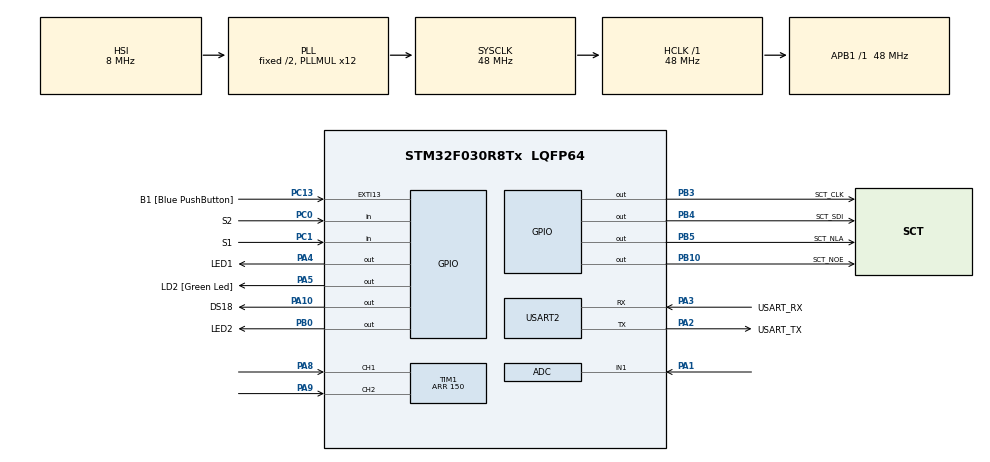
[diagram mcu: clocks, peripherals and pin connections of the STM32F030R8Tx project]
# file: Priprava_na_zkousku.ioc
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ADC.ContinuousConvMode=ENABLE
ADC.Overrun=ADC_OVR_DATA_OVERWRITTEN
ADC.Resolution=ADC_RESOLUTION_10B
ADC.SamplingTime=ADC_SAMPLETIME_239CYCLES_5
Mcu.Family=STM32F0
Mcu.Name=STM32F030R8Tx
Mcu.Package=LQFP64
NVIC.ADC1_IRQn=true\:0\:0\:false\:false\:true\:true\:true
PA0.GPIO_Label=ADC_IN0
PA0.Signal=ADC_IN0
PA1.Mode=IN1
PA1.Signal=ADC_IN1
PA10.GPIO_Label=DS18
PA10.GPIO_ModeDefaultOutputPP=GPIO_MODE_OUTPUT_OD
PA10.PinState=GPIO_PIN_SET
PA10.Signal=GPIO_Output
PA13.GPIO_Label=TMS
PA13.Mode=Serial_Wire
PA13.Signal=SYS_SWDIO
PA14.GPIO_Label=TCK
PA14.Mode=Serial_Wire
PA14.Signal=SYS_SWCLK
PA2.GPIO_Label=USART_TX
PA2.GPIO_Mode=GPIO_MODE_AF_PP
PA2.GPIO_PuPd=GPIO_NOPULL
PA2.GPIO_Speed=GPIO_SPEED_FREQ_LOW
PA2.Mode=Asynchronous
PA2.Signal=USART2_TX
PA3.GPIO_Label=USART_RX
PA3.GPIO_Mode=GPIO_MODE_AF_PP
PA3.GPIO_PuPd=GPIO_NOPULL
PA3.GPIO_Speed=GPIO_SPEED_FREQ_LOW
PA3.Mode=Asynchronous
PA3.Signal=USART2_RX
PA4.GPIO_Label=LED1
PA4.Signal=GPIO_Output
PA5.GPIO_Label=LD2 [Green Led]
PA5.GPIO_Mode=GPIO_MODE_OUTPUT_PP
PA5.GPIO_PuPd=GPIO_NOPULL
PA5.GPIO_Speed=GPIO_SPEED_FREQ_LOW
PA5.Signal=GPIO_Output
PA8.Signal=S_TIM1_CH1
PA9.Signal=S_TIM1_CH2
PB0.GPIO_Label=LED2
PB0.Signal=GPIO_Output
PB10.GPIO_Label=SCT_NOE
PB10.Signal=GPIO_Output
PB3.GPIO_Label=SCT_CLK
PB3.Signal=GPIO_Output
PB4.GPIO_Label=SCT_SDI
PB4.Signal=GPIO_Output
PB5.GPIO_Label=SCT_NLA
PB5.Signal=GPIO_Output
PC0.GPIO_Label=S2
PC0.GPIO_PuPd=GPIO_PULLUP
PC0.Signal=GPIO_Input
PC1.GPIO_Label=S1
PC1.GPIO_PuPd=GPIO_PULLUP
PC1.Signal=GPIO_Input
PC13.GPIO_Label=B1 [Blue PushButton]
PC13.GPIO_ModeDefaultEXTI=GPIO_MODE_IT_FALLING
PC13.Signal=GPXTI13
PC14-OSC32_IN.Mode=LSE-External-Oscillator
PC14-OSC32_IN.Signal=RCC_OSC32_IN
PC15-OSC32_OUT.Mode=LSE-External-Oscillator
PC15-OSC32_OUT.Signal=RCC_OSC32_OUT
PF0-OSC_IN.Mode=HSE-External-Clock-Source
PF0-OSC_IN.Signal=RCC_OSC_IN
PF1-OSC_OUT.Signal=RCC_OSC_OUT
ProjectManager.HeapSize=0x200
ProjectManager.StackSize=0x400
ProjectManager.TargetToolchain=STM32CubeIDE
RCC.AHBFreq_Value=48000000
RCC.APB1Freq_Value=48000000
RCC.APB1TimFreq_Value=48000000
RCC.HCLKFreq_Value=48000000
RCC.PLLMUL=RCC_PLL_MUL12
RCC.SYSCLKFreq_VALUE=48000000
RCC.SYSCLKSource=RCC_SYSCLKSOURCE_PLLCLK
SH.S_TIM1_CH1.0=TIM1_CH1,Encoder_Interface
SH.S_TIM1_CH2.0=TIM1_CH2,Encoder_Interface
TIM1.IC1Polarity=TIM_ICPOLARITY_FALLING
TIM1.Period=150
USART2.VirtualMode-Asynchronous=VM_ASYNC
board=NUCLEO-F030R8

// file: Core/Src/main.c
/* USER CODE BEGIN Header */
/**
  ******************************************************************************
  * @file           : main.c
  * @brief          : Main program body
  ******************************************************************************
  * @attention
  *
  * <h2><center>&copy; Copyright (c) 2022 STMicroelectronics.
  * All rights reserved.</center></h2>
  *
  * This software component is licensed by ST under BSD 3-Clause license,
  * the "License"; You may not use this file except in compliance with the
  * License. You may obtain a copy of the License at:
  *                        opensource.org/licenses/BSD-3-Clause
  *
  ******************************************************************************
  */
/* USER CODE END Header */
#include "main.h"

/* USER CODE BEGIN Includes */

#include "sct.h"
#include "1wire.h"

/* USER CODE END Includes */

ADC_HandleTypeDef hadc;

TIM_HandleTypeDef htim1;

UART_HandleTypeDef huart2;

void SystemClock_Config(void);
static void MX_GPIO_Init(void);
static void MX_USART2_UART_Init(void);
static void MX_TIM1_Init(void);
static void MX_ADC_Init(void);

/* USER CODE BEGIN 0 */

uint8_t Tlacitka(void)
{
static uint32_t debounce = 0;
static uint8_t btnout = 0;

// uint32_t now = HAL_GetTick() ;

#define BUTTON_DEBOUNCE 100
// #define BUTTON_LONG 1000

	if (HAL_GetTick() > debounce + BUTTON_DEBOUNCE) {

			if (HAL_GPIO_ReadPin(S1_GPIO_Port, S1_Pin) == 0) {
				btnout |= 0x1;
			} else
				btnout &= ~0x1;

			if (HAL_GPIO_ReadPin(S2_GPIO_Port, S2_Pin) == 0) {
				btnout |= 0x2;
			} else
				btnout &= ~0x2;

/*
		if(tlacidlo == 1 && HAL_GetTick() > now + BUTTON_LONG)
			{
				btnout |= 0x3;
			}
		else
			btnout &= ~0x3;
*/
		debounce = HAL_GetTick();
	}
return btnout;
}

void Led(uint16_t LedOut,uint16_t ON_OFF )
{
		if (LedOut == 1 && ON_OFF == 1) {
		HAL_GPIO_WritePin(LED1_GPIO_Port, LED1_Pin, GPIO_PIN_SET);
	} else if (LedOut == 1 && ON_OFF == 0)
		HAL_GPIO_WritePin(LED1_GPIO_Port, LED1_Pin, GPIO_PIN_RESET);

	if (LedOut == 2 && ON_OFF == 1) {
		HAL_GPIO_WritePin(LED2_GPIO_Port, LED2_Pin, GPIO_PIN_SET);
	} else if(LedOut == 2 && ON_OFF == 0)
		HAL_GPIO_WritePin(LED2_GPIO_Port, LED2_Pin, GPIO_PIN_RESET);

	LedOut = 0;
}
/*
static volatile uint32_t raw_pot;
static uint32_t avg_pot;
#define ADC_Q 14

void HAL_ADC_ConvCpltCallback(ADC_HandleTypeDef* hadc)
{
raw_pot = avg_pot >> ADC_Q;
avg_pot -= raw_pot;
avg_pot += HAL_ADC_GetValue(hadc);
}

*/

static const int16_t ntc_lookup[] = { 1689, 1669, 1649, 1630, 1611, 1593, 1575,
		1558, 1540, 1524, 1507, 1491, 1475, 1460, 1445, 1430, 1415, 1401, 1387,
		1373, 1360, 1347, 1334, 1322, 1309, 1297, 1285, 1274, 1263, 1251, 1241,
		1230, 1220, 1209, 1199, 1190, 1180, 1171, 1161, 1152, 1144, 1135, 1126,
		1118, 1110, 1102, 1094, 1086, 1079, 1071, 1064, 1057, 1050, 1043, 1036,
		1030, 1023, 1017, 1011, 1005, 999, 993, 987, 981, 976, 970, 965, 960,
		954, 949, 944, 939, 934, 930, 925, 920, 916, 911, 907, 902, 898, 894,
		890, 886, 882, 878, 874, 870, 866, 862, 859, 855, 851, 848, 844, 841,
		837, 834, 831, 827, 824, 821, 818, 814, 811, 808, 805, 802, 799, 796,
		793, 790, 788, 785, 782, 779, 776, 774, 771, 768, 766, 763, 760, 758,
		755, 753, 750, 748, 745, 743, 740, 738, 735, 733, 731, 728, 726, 723,
		721, 719, 717, 714, 712, 710, 707, 705, 703, 701, 699, 696, 694, 692,
		690, 688, 686, 684, 682, 679, 677, 675, 673, 671, 669, 667, 665, 663,
		661, 659, 657, 655, 653, 651, 649, 647, 645, 643, 641, 640, 638, 636,
		634, 632, 630, 628, 626, 625, 623, 621, 619, 617, 615, 614, 612, 610,
		608, 607, 605, 603, 601, 599, 598, 596, 594, 593, 591, 589, 587, 586,
		584, 582, 581, 579, 577, 576, 574, 573, 571, 569, 568, 566, 565, 563,
		561, 560, 558, 557, 555, 554, 552, 550, 549, 547, 546, 544, 543, 541,
		540, 538, 537, 536, 534, 533, 531, 530, 528, 527, 525, 524, 523, 521,
		520, 518, 517, 516, 514, 513, 511, 510, 509, 507, 506, 505, 503, 502,
		501, 499, 498, 497, 496, 494, 493, 492, 490, 489, 488, 487, 485, 484,
		483, 482, 480, 479, 478, 477, 475, 474, 473, 472, 471, 469, 468, 467,
		466, 465, 464, 462, 461, 460, 459, 458, 457, 455, 454, 453, 452, 451,
		450, 449, 448, 446, 445, 444, 443, 442, 441, 440, 439, 438, 437, 435,
		434, 433, 432, 431, 430, 429, 428, 427, 426, 425, 424, 423, 422, 421,
		419, 418, 417, 416, 415, 414, 413, 412, 411, 410, 409, 408, 407, 406,
		405, 404, 403, 402, 401, 400, 399, 398, 397, 396, 395, 394, 393, 392,
		391, 390, 389, 388, 387, 386, 385, 384, 383, 382, 381, 380, 379, 378,
		377, 376, 375, 374, 373, 372, 371, 370, 369, 368, 367, 366, 365, 364,
		363, 362, 361, 360, 359, 358, 358, 357, 356, 355, 354, 353, 352, 351,
		350, 349, 348, 347, 346, 345, 344, 343, 342, 341, 340, 339, 338, 337,
		336, 335, 334, 333, 332, 331, 330, 330, 329, 328, 327, 326, 325, 324,
		323, 322, 321, 320, 319, 318, 317, 316, 315, 314, 313, 312, 311, 310,
		309, 309, 308, 307, 306, 305, 304, 303, 302, 301, 300, 299, 298, 297,
		296, 295, 294, 293, 293, 292, 291, 290, 289, 288, 287, 286, 285, 284,
		283, 282, 281, 280, 279, 279, 278, 277, 276, 275, 274, 273, 272, 271,
		270, 269, 268, 268, 267, 266, 265, 264, 263, 262, 261, 260, 259, 258,
		258, 257, 256, 255, 254, 253, 252, 251, 250, 250, 249, 248, 247, 246,
		245, 244, 243, 242, 242, 241, 240, 239, 238, 237, 236, 235, 235, 234,
		233, 232, 231, 230, 229, 228, 228, 227, 226, 225, 224, 223, 222, 222,
		221, 220, 219, 218, 217, 217, 216, 215, 214, 213, 212, 211, 211, 210,
		209, 208, 207, 206, 206, 205, 204, 203, 202, 201, 201, 200, 199, 198,
		197, 196, 196, 195, 194, 193, 192, 192, 191, 190, 189, 188, 187, 187,
		186, 185, 184, 183, 182, 182, 181, 180, 179, 178, 178, 177, 176, 175,
		174, 173, 173, 172, 171, 170, 169, 169, 168, 167, 166, 165, 164, 164,
		163, 162, 161, 160, 160, 159, 158, 157, 156, 155, 155, 154, 153, 152,
		151, 151, 150, 149, 148, 147, 146, 146, 145, 144, 143, 142, 141, 141,
		140, 139, 138, 137, 136, 135, 135, 134, 133, 132, 131, 130, 130, 129,
		128, 127, 126, 125, 124, 124, 123, 122, 121, 120, 119, 118, 117, 117,
		116, 115, 114, 113, 112, 111, 110, 110, 109, 108, 107, 106, 105, 104,
		103, 102, 102, 101, 100, 99, 98, 97, 96, 95, 94, 93, 92, 92, 91, 90, 89,
		88, 87, 86, 85, 84, 83, 82, 81, 80, 79, 78, 78, 77, 76, 75, 74, 73, 72,
		71, 70, 69, 68, 67, 66, 65, 64, 63, 62, 61, 60, 59, 58, 57, 56, 55, 54,
		53, 52, 51, 50, 49, 48, 47, 46, 45, 44, 43, 42, 41, 40, 39, 38, 37, 36,
		35, 34, 33, 32, 31, 30, 29, 28, 27, 26, 25, 24, 23, 22, 21, 20, 19, 18,
		17, 16, 15, 14, 13, 12, 11, 10, 9, 7, 6, 5, 4, 3, 2, 1, 0, -1, -2, -3,
		-4, -5, -6, -7, -8, -9, -11, -12, -13, -14, -15, -16, -17, -18, -19,
		-20, -21, -22, -24, -25, -26, -27, -28, -29, -30, -31, -32, -33, -35,
		-36, -37, -38, -39, -40, -41, -42, -44, -45, -46, -47, -48, -49, -50,
		-52, -53, -54, -55, -56, -57, -59, -60, -61, -62, -63, -64, -66, -67,
		-68, -69, -71, -72, -73, -74, -75, -77, -78, -79, -80, -82, -83, -84,
		-86, -87, -88, -89, -91, -92, -93, -95, -96, -97, -99, -100, -101, -103,
		-104, -106, -107, -108, -110, -111, -113, -114, -116, -117, -119, -120,
		-122, -123, -125, -126, -128, -129, -131, -132, -134, -136, -137, -139,
		-140, -142, -144, -145, -147, -149, -150, -152, -154, -156, -157, -159,
		-161, -163, -165, -166, -168, -170, -172, -174, -176, -178, -180, -182,
		-184, -186, -188, -190, -192, -194, -196, -198, -200, -202, -204, -207,
		-209, -211, -213, -215, -218, -220, -222, -224, -227, -229, -231, -234,
		-236, -239, -241, -243, -246, -248, -251, -253, -256, -258, -261, -264,
		-266, -269, -271, -274, -277, -279, -282, -285, -287, -290, -293, -295,
		-298, -301, -304, -307, -309, -312, -315, -318, -321, -324, -326, -329,
		-332, -335, -338, -341, -344, -347, -349, -352, -355, -358, -361, -364,
		-367, -370, -372, -375, -378, -381, -384, -387, -389, -392, -395, -398,
		-401, -403, -406, -409, -411, -414, -416, -419, -422, -424, -427, -429,
		-431, -434 };

/* USER CODE END 0 */

int main(void)
{

  /* MCU Configuration--------------------------------------------------------*/

  /* Reset of all peripherals, Initializes the Flash interface and the Systick. */
  HAL_Init();

  /* Configure the system clock */
  SystemClock_Config();

  /* Initialize all configured peripherals */
  MX_GPIO_Init();
  MX_USART2_UART_Init();
  MX_TIM1_Init();
  MX_ADC_Init();
  /* USER CODE BEGIN 2 */

  HAL_TIM_Encoder_Start(&htim1, htim1.Channel);

	uint32_t stisk1 = 0;
	uint32_t stisk2 = 0;
	uint32_t poloha = 0;

	uint32_t tim_default = HAL_GetTick();

	HAL_ADCEx_Calibration_Start(&hadc);
	//HAL_ADC_Start_IT(&hadc);
	HAL_ADC_Start(&hadc);

  /* USER CODE END 2 */

  /* Infinite loop */
  /* USER CODE BEGIN WHILE */
  while (1)
  {
	  sct_value(ntc_lookup[HAL_ADC_GetValue(&hadc)], 0b010);

	  /*
	  int16_t temp_18b20;
	  OWReadTemperature(&temp_18b20);
	  sct_value(temp_18b20 / 10, 0b010);
	  OWConvertAll();*/

	  //sct_value(raw_pot * 500 / 4096, raw_pot * 9 / 4096);

/*
	  sct_init();
	  sct_led(0x7A5C36DE);
	  HAL_Delay(1000);
*/
/*
if(Tlacitka() == 0x1){
	 	 stisk1 = 1;
	 	 stisk2 = 0;
		Led(1,1);
	} else
	{
		Led(1,0);
	}
if(Tlacitka() == 0x2){
 	 stisk1 = 0;
 	 stisk2 = 1;
		Led(2,1);
	} else
	{
		Led(2,0);
	}

if(stisk1 == 1){
	sct_value(HAL_GetTick(),0);
	}
else if(stisk2 == 1){
	sct_value(__HAL_TIM_GET_COUNTER(&htim1),__HAL_TIM_GET_COUNTER(&htim1)/2);

	}
else
	{
	sct_value(0,0);
	}*/

    /* USER CODE END WHILE */

  }
}

void SystemClock_Config(void)
{
  RCC_OscInitTypeDef RCC_OscInitStruct = {0};
  RCC_ClkInitTypeDef RCC_ClkInitStruct = {0};

  /** Initializes the RCC Oscillators according to the specified parameters
  * in the RCC_OscInitTypeDef structure.
  */
  RCC_OscInitStruct.OscillatorType = RCC_OSCILLATORTYPE_HSI|RCC_OSCILLATORTYPE_HSI14;
  RCC_OscInitStruct.HSIState = RCC_HSI_ON;
  RCC_OscInitStruct.HSI14State = RCC_HSI14_ON;
  RCC_OscInitStruct.HSICalibrationValue = RCC_HSICALIBRATION_DEFAULT;
  RCC_OscInitStruct.HSI14CalibrationValue = 16;
  RCC_OscInitStruct.PLL.PLLState = RCC_PLL_ON;
  RCC_OscInitStruct.PLL.PLLSource = RCC_PLLSOURCE_HSI;
  RCC_OscInitStruct.PLL.PLLMUL = RCC_PLL_MUL12;
  RCC_OscInitStruct.PLL.PREDIV = RCC_PREDIV_DIV1;
  if (HAL_RCC_OscConfig(&RCC_OscInitStruct) != HAL_OK)
  {
    Error_Handler();
  }
  /** Initializes the CPU, AHB and APB buses clocks
  */
  RCC_ClkInitStruct.ClockType = RCC_CLOCKTYPE_HCLK|RCC_CLOCKTYPE_SYSCLK
                              |RCC_CLOCKTYPE_PCLK1;
  RCC_ClkInitStruct.SYSCLKSource = RCC_SYSCLKSOURCE_PLLCLK;
  RCC_ClkInitStruct.AHBCLKDivider = RCC_SYSCLK_DIV1;
  RCC_ClkInitStruct.APB1CLKDivider = RCC_HCLK_DIV1;

  if (HAL_RCC_ClockConfig(&RCC_ClkInitStruct, FLASH_LATENCY_1) != HAL_OK)
  {
    Error_Handler();
  }
}

static void MX_ADC_Init(void)
{

  ADC_ChannelConfTypeDef sConfig = {0};

  /** Configure the global features of the ADC (Clock, Resolution, Data Alignment and number of conversion)
  */
  hadc.Instance = ADC1;
  hadc.Init.ClockPrescaler = ADC_CLOCK_ASYNC_DIV1;
  hadc.Init.Resolution = ADC_RESOLUTION_10B;
  hadc.Init.DataAlign = ADC_DATAALIGN_RIGHT;
  hadc.Init.ScanConvMode = ADC_SCAN_DIRECTION_FORWARD;
  hadc.Init.EOCSelection = ADC_EOC_SINGLE_CONV;
  hadc.Init.LowPowerAutoWait = DISABLE;
  hadc.Init.LowPowerAutoPowerOff = DISABLE;
  hadc.Init.ContinuousConvMode = ENABLE;
  hadc.Init.DiscontinuousConvMode = DISABLE;
  hadc.Init.ExternalTrigConv = ADC_SOFTWARE_START;
  hadc.Init.ExternalTrigConvEdge = ADC_EXTERNALTRIGCONVEDGE_NONE;
  hadc.Init.DMAContinuousRequests = DISABLE;
  hadc.Init.Overrun = ADC_OVR_DATA_OVERWRITTEN;
  if (HAL_ADC_Init(&hadc) != HAL_OK)
  {
    Error_Handler();
  }
  /** Configure for the selected ADC regular channel to be converted.
  */
  sConfig.Channel = ADC_CHANNEL_1;
  sConfig.Rank = ADC_RANK_CHANNEL_NUMBER;
  sConfig.SamplingTime = ADC_SAMPLETIME_239CYCLES_5;
  if (HAL_ADC_ConfigChannel(&hadc, &sConfig) != HAL_OK)
  {
    Error_Handler();
  }

}

static void MX_TIM1_Init(void)
{

  TIM_Encoder_InitTypeDef sConfig = {0};
  TIM_MasterConfigTypeDef sMasterConfig = {0};

  htim1.Instance = TIM1;
  htim1.Init.Prescaler = 0;
  htim1.Init.CounterMode = TIM_COUNTERMODE_UP;
  htim1.Init.Period = 150;
  htim1.Init.ClockDivision = TIM_CLOCKDIVISION_DIV1;
  htim1.Init.RepetitionCounter = 0;
  htim1.Init.AutoReloadPreload = TIM_AUTORELOAD_PRELOAD_DISABLE;
  sConfig.EncoderMode = TIM_ENCODERMODE_TI1;
  sConfig.IC1Polarity = TIM_ICPOLARITY_FALLING;
  sConfig.IC1Selection = TIM_ICSELECTION_DIRECTTI;
  sConfig.IC1Prescaler = TIM_ICPSC_DIV1;
  sConfig.IC1Filter = 0;
  sConfig.IC2Polarity = TIM_ICPOLARITY_RISING;
  sConfig.IC2Selection = TIM_ICSELECTION_DIRECTTI;
  sConfig.IC2Prescaler = TIM_ICPSC_DIV1;
  sConfig.IC2Filter = 0;
  if (HAL_TIM_Encoder_Init(&htim1, &sConfig) != HAL_OK)
  {
    Error_Handler();
  }
  sMasterConfig.MasterOutputTrigger = TIM_TRGO_RESET;
  sMasterConfig.MasterSlaveMode = TIM_MASTERSLAVEMODE_DISABLE;
  if (HAL_TIMEx_MasterConfigSynchronization(&htim1, &sMasterConfig) != HAL_OK)
  {
    Error_Handler();
  }

}

static void MX_USART2_UART_Init(void)
{

  huart2.Instance = USART2;
  huart2.Init.BaudRate = 38400;
  huart2.Init.WordLength = UART_WORDLENGTH_8B;
  huart2.Init.StopBits = UART_STOPBITS_1;
  huart2.Init.Parity = UART_PARITY_NONE;
  huart2.Init.Mode = UART_MODE_TX_RX;
  huart2.Init.HwFlowCtl = UART_HWCONTROL_NONE;
  huart2.Init.OverSampling = UART_OVERSAMPLING_16;
  huart2.Init.OneBitSampling = UART_ONE_BIT_SAMPLE_DISABLE;
  huart2.AdvancedInit.AdvFeatureInit = UART_ADVFEATURE_NO_INIT;
  if (HAL_UART_Init(&huart2) != HAL_OK)
  {
    Error_Handler();
  }

}

static void MX_GPIO_Init(void)
{
  GPIO_InitTypeDef GPIO_InitStruct = {0};

  /* GPIO Ports Clock Enable */
  __HAL_RCC_GPIOC_CLK_ENABLE();
  __HAL_RCC_GPIOF_CLK_ENABLE();
  __HAL_RCC_GPIOA_CLK_ENABLE();
  __HAL_RCC_GPIOB_CLK_ENABLE();

  /*Configure GPIO pin Output Level */
  HAL_GPIO_WritePin(GPIOA, LED1_Pin|LD2_Pin, GPIO_PIN_RESET);

  /*Configure GPIO pin Output Level */
  HAL_GPIO_WritePin(GPIOB, LED2_Pin|SCT_NOE_Pin|SCT_CLK_Pin|SCT_SDI_Pin
                          |SCT_NLA_Pin, GPIO_PIN_RESET);

  /*Configure GPIO pin Output Level */
  HAL_GPIO_WritePin(DS18_GPIO_Port, DS18_Pin, GPIO_PIN_SET);

  /*Configure GPIO pin : B1_Pin */
  GPIO_InitStruct.Pin = B1_Pin;
  GPIO_InitStruct.Mode = GPIO_MODE_IT_FALLING;
  GPIO_InitStruct.Pull = GPIO_NOPULL;
  HAL_GPIO_Init(B1_GPIO_Port, &GPIO_InitStruct);

  /*Configure GPIO pins : S2_Pin S1_Pin */
  GPIO_InitStruct.Pin = S2_Pin|S1_Pin;
  GPIO_InitStruct.Mode = GPIO_MODE_INPUT;
  GPIO_InitStruct.Pull = GPIO_PULLUP;
  HAL_GPIO_Init(GPIOC, &GPIO_InitStruct);

  /*Configure GPIO pins : LED1_Pin LD2_Pin */
  GPIO_InitStruct.Pin = LED1_Pin|LD2_Pin;
  GPIO_InitStruct.Mode = GPIO_MODE_OUTPUT_PP;
  GPIO_InitStruct.Pull = GPIO_NOPULL;
  GPIO_InitStruct.Speed = GPIO_SPEED_FREQ_LOW;
  HAL_GPIO_Init(GPIOA, &GPIO_InitStruct);

  /*Configure GPIO pins : LED2_Pin SCT_NOE_Pin SCT_CLK_Pin SCT_SDI_Pin
                           SCT_NLA_Pin */
  GPIO_InitStruct.Pin = LED2_Pin|SCT_NOE_Pin|SCT_CLK_Pin|SCT_SDI_Pin
                          |SCT_NLA_Pin;
  GPIO_InitStruct.Mode = GPIO_MODE_OUTPUT_PP;
  GPIO_InitStruct.Pull = GPIO_NOPULL;
  GPIO_InitStruct.Speed = GPIO_SPEED_FREQ_LOW;
  HAL_GPIO_Init(GPIOB, &GPIO_InitStruct);

  /*Configure GPIO pin : DS18_Pin */
  GPIO_InitStruct.Pin = DS18_Pin;
  GPIO_InitStruct.Mode = GPIO_MODE_OUTPUT_OD;
  GPIO_InitStruct.Pull = GPIO_NOPULL;
  GPIO_InitStruct.Speed = GPIO_SPEED_FREQ_LOW;
  HAL_GPIO_Init(DS18_GPIO_Port, &GPIO_InitStruct);

}

void Error_Handler(void)
{
  __disable_irq();
  while (1)
  {
  }
}

/************************ (C) COPYRIGHT STMicroelectronics *****END OF FILE****/
